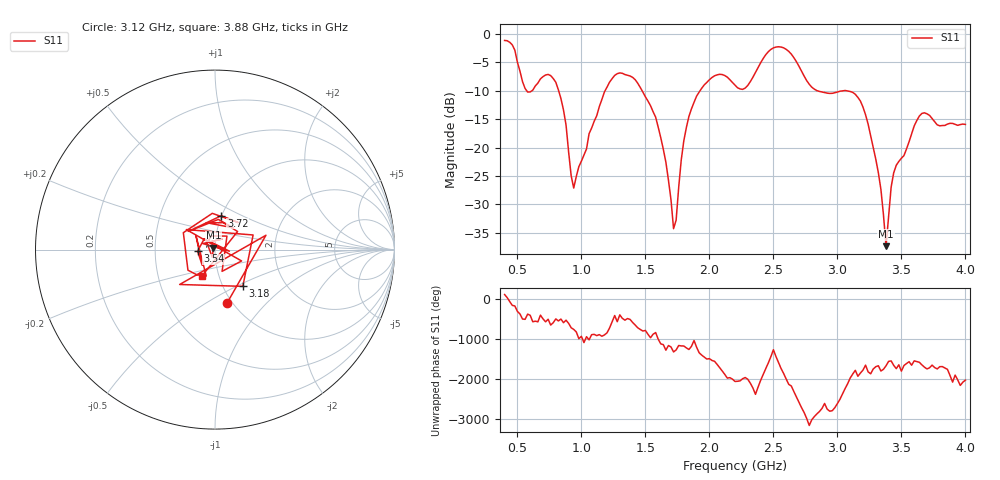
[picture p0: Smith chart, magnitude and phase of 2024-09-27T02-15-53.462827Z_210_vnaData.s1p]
!Created with skrf (http://scikit-rf.org).
# Hz S RI R 50.0
!freq ReS11 ImS11
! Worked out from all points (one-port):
!   181 points, 400 MHz to 4 GHz, reference 50 ohm
!   lowest |S11| = -37.3 dB at 3.38 GHz (marker M1), VSWR 1.03, Z = 49.1 + j1.03 ohm
!   |S11| at or under -10 dB: 822.4 MHz to 1.185 GHz (362.2 MHz wide, 36.1 % of centre); 1.475 GHz to 1.926 GHz (451.8 MHz wide, 26.6 % of centre); 3.075 GHz to end of sweep (the widest 3 of 5)
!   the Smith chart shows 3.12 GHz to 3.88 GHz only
!   S11 on the Smith chart (normalised r, x): 3.12 GHz: 0.94, -0.62; 3.18 GHz: 1.24, -0.54; 3.54 GHz: 0.82, -0.02; 3.72 GHz: 1.00, +0.39; 3.88 GHz: 0.83, -0.25
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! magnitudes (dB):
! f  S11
! 400 MHz  -1.1
! 580 MHz  -10.2
! 760 MHz  -7.3
! 860 MHz  -13.4
! 940 MHz  -27.1
! 1.18 GHz  -10.2
! 1.3 GHz  -6.8
! 1.58 GHz  -14.6
! 1.66 GHz  -22.6
! 1.72 GHz  -34.3
! 1.76 GHz  -27.0
! 1.82 GHz  -16.5
! 1.9 GHz  -10.9
! 2.2 GHz  -9.0
! 2.5 GHz  -2.4
! 2.66 GHz  -4.2
! 2.82 GHz  -9.7
! 3.1 GHz  -10.1
! 3.12 GHz  -10.3
! 3.18 GHz  -11.8
! 3.32 GHz  -24.4
! 3.38 GHz  -37.3
! 3.44 GHz  -24.4
! 3.54 GHz  -20.2
! 3.56 GHz  -19.0
! 3.72 GHz  -14.3
! 3.88 GHz  -15.7
! 4 GHz  -15.9
